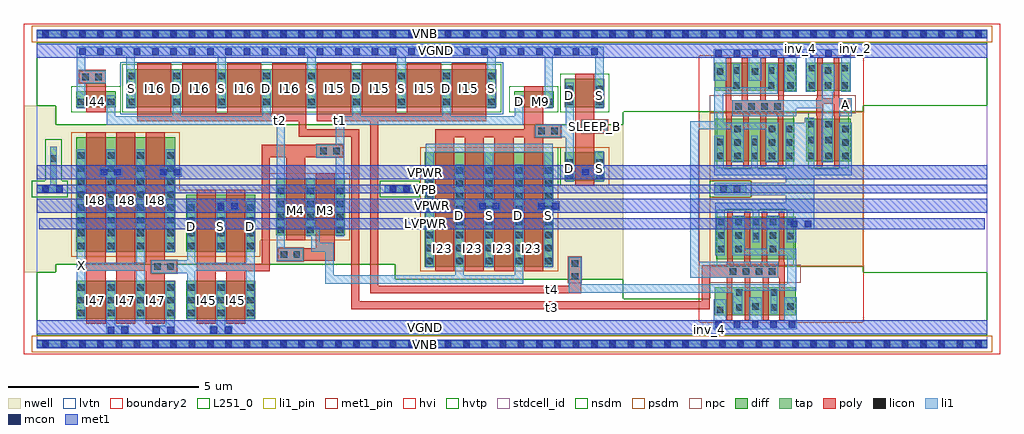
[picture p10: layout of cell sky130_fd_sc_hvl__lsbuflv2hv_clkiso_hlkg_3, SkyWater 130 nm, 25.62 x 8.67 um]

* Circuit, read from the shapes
.subckt sky130_fd_sc_hvl__lsbuflv2hv_clkiso_hlkg_3 A LVPWR SLEEP_B VGND VNB VPB VPWR X
XM1 VGND n1 X VNB sky130_fd_pr__nfet_05v0_nvt w=1 l=0.5 m=3
XM2 n2 VGND VGND VNB sky130_fd_pr__nfet_05v0_nvt w=0.42 l=0.5
XM3 n2 n3 VGND VNB sky130_fd_pr__nfet_05v0_nvt w=1 l=0.9 m=4
XM4 VGND n4 n1 VNB sky130_fd_pr__nfet_05v0_nvt w=1 l=0.5 m=2
XM5 n4 n5 VGND VNB sky130_fd_pr__nfet_05v0_nvt w=1 l=0.9 m=4
XM6 VGND n6 n4 VNB sky130_fd_pr__nfet_05v0_nvt w=0.42 l=0.5
XM7 VGND SLEEP_B n6 VNB sky130_fd_pr__nfet_05v0_nvt w=0.75 l=0.5
XM8 n3 n7 VGND VNB sky130_fd_pr__nfet_01v8 w=0.74 l=0.15 m=4
XM9 n5 n3 VGND VNB sky130_fd_pr__nfet_01v8 w=0.74 l=0.15 m=4
XM10 n7 A VGND VNB sky130_fd_pr__nfet_01v8 w=0.74 l=0.15 m=2
XM11 VPWR n1 X VPB sky130_fd_pr__pfet_g5v0d10v5 w=3 l=0.5 m=3
XM12 VPWR n4 n1 VPB sky130_fd_pr__pfet_g5v0d10v5 w=1.5 l=0.5 m=2
XM13 n8 n4 n2 VPB sky130_fd_pr__pfet_g5v0d10v5 w=1.5 l=0.5
XM14 n4 n2 n8 VPB sky130_fd_pr__pfet_g5v0d10v5 w=1.5 l=0.5
XM15 n8 n6 VPWR VPB sky130_fd_pr__pfet_g5v0d10v5 w=3 l=0.5 m=4
XM16 VPWR SLEEP_B n6 VPB sky130_fd_pr__pfet_g5v0d10v5 w=0.75 l=0.5
XM17 n3 n7 LVPWR LVPWR sky130_fd_pr__pfet_01v8_hvt w=1.12 l=0.15 m=4
XM18 n5 n3 LVPWR LVPWR sky130_fd_pr__pfet_01v8_hvt w=1.12 l=0.15 m=4
XM19 n7 A LVPWR LVPWR sky130_fd_pr__pfet_01v8_hvt w=1.12 l=0.15 m=2
.ends

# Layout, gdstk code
import gdstk
lib = gdstk.Library(unit=1e-6, precision=1e-09)
def R(c, l, rs):  # rectangles x0, y0, x1, y1
    for r in rs: c.add(gdstk.rectangle(r[:2], r[2:], *l))
def A(c, l, x, y, w, h, nx, ny, dx, dy):  # array of equal rectangles
    R(c, l, [(x+i*dx, y+j*dy, x+i*dx+w, y+j*dy+h) for i in range(nx) for j in range(ny)])
def P(c, l, *ps):  # polygons
    for p in ps: c.add(gdstk.Polygon(p, *l))
nwell = (64, 20)
diff = (65, 20)
tap = (65, 44)
poly = (66, 20)
licon = (66, 44)
li1_pin = (67, 16)
li1 = (67, 20)
mcon = (67, 44)
met1_pin = (68, 16)
met1 = (68, 20)
hvi = (75, 20)
hvtp = (78, 44)
stdcell_id = (81, 4)
nsdm = (93, 44)
psdm = (94, 20)
npc = (95, 20)
lvtn = (125, 44)
boundary2 = (236, 0)
L251_0 = (251, 0)

sky130_fd_sc_hvl__lsbufl = lib.new_cell('sky130_fd_sc_hvl__lsbuflv2hv_clkiso_hlkg_3')
R(sky130_fd_sc_hvl__lsbufl, nwell, [(17.395,2.045,21.695,6.095), (19.875,4.235,21.695,6.095)])
P(sky130_fd_sc_hvl__lsbufl, nwell, [(15.395,5.755),(0.51,5.755),(0.51,6.255),(-0.33,6.255),(-0.33,1.885),(0.51,1.885),(0.51,2.095),(9.415,2.095),(9.415,1.705),(15.395,1.705)])
R(sky130_fd_sc_hvl__lsbufl, diff, [(1.045,0.665,3.635,1.665), (3.935,0.665,5.745,1.665), (17.8,0.755,19.93,1.495), (10.195,2.035,13.565,5.035), (17.835,2.225,19.925,3.345), (1.045,2.425,3.635,5.425), (3.935,2.425,5.745,3.925), (6.285,2.855,8.095,4.355), (13.87,4.285,14.9,5.035), (17.805,4.795,19.895,5.915), (20.2,4.795,21.37,5.915), (1.045,6.215,2.075,6.635), (2.375,6.215,12.065,7.215), (12.54,6.215,13.57,6.635), (13.87,6.215,14.9,6.965), (17.8,6.645,19.93,7.385), (20.205,6.645,21.355,7.385)])
R(sky130_fd_sc_hvl__lsbufl, tap, [(0,-0.085,24.96,0.085), (0,3.985,0.685,4.155), (0.36,3.985,0.53,5.18), (9.135,3.985,9.925,4.155), (17.795,3.985,18.63,4.155), (0,8.055,24.96,8.225)])
R(sky130_fd_sc_hvl__lsbufl, poly, [(6.55,2.725,7.05,4.485), (7.33,2.725,7.83,4.485)])
P(sky130_fd_sc_hvl__lsbufl, poly, [(19.645,2.15),(19.63,2.15),(19.63,3.475),(19.48,3.475),(19.48,2.15),(19.465,2.15),(19.465,2.065),(19.195,2.065),(19.195,2.15),(19.18,2.15),(19.18,3.475),(19.03,3.475),(19.03,2.15),(19.015,2.15),(19.015,2.065),(18.745,2.065),(18.745,2.15),(18.73,2.15),(18.73,3.475),(18.58,3.475),(18.58,2.15),(18.565,2.15),(18.565,2.065),(18.295,2.065),(18.295,2.15),(18.28,2.15),(18.28,3.475),(18.13,3.475),(18.13,2.15),(18.115,2.15),(18.115,2.065),(17.465,2.065),(17.465,1.125),(8.465,1.125),(8.465,5.645),(7.08,5.645),(7.08,7.375),(6.18,7.375),(6.18,6.055),(5.9,6.055),(5.9,7.375),(5,7.375),(5,6.055),(4.72,6.055),(4.72,7.375),(3.82,7.375),(3.82,6.055),(3.54,6.055),(3.54,7.375),(2.64,7.375),(2.64,5.855),(6.88,5.855),(6.88,5.445),(8.265,5.445),(8.265,0.92),(17.665,0.92),(17.665,1.735),(18.115,1.735),(18.115,0.625),(18.265,0.625),(18.265,1.735),(18.585,1.735),(18.585,0.625),(18.735,0.625),(18.735,1.735),(19.065,1.735),(19.065,0.625),(19.215,0.625),(19.215,1.735),(19.495,1.735),(19.495,0.625),(19.645,0.625)],
  [(20.47,5.99),(20.485,5.99),(20.485,4.665),(20.635,4.665),(20.635,5.99),(20.65,5.99),(20.65,6.305),(20.92,6.305),(20.92,5.99),(20.935,5.99),(20.935,4.665),(21.085,4.665),(21.085,5.99),(21.1,5.99),(21.1,6.125),(21.4,6.125),(21.4,6.455),(21.07,6.455),(21.07,7.515),(20.92,7.515),(20.92,6.455),(20.64,6.455),(20.64,7.515),(20.49,7.515),(20.49,6.455),(20.47,6.455)],
  [(18.085,5.99),(18.1,5.99),(18.1,4.665),(18.25,4.665),(18.25,5.99),(18.265,5.99),(18.265,6.075),(18.535,6.075),(18.535,5.99),(18.55,5.99),(18.55,4.665),(18.7,4.665),(18.7,5.99),(18.715,5.99),(18.715,6.075),(18.985,6.075),(18.985,5.99),(19,5.99),(19,4.665),(19.15,4.665),(19.15,5.99),(19.165,5.99),(19.165,6.075),(19.435,6.075),(19.435,5.99),(19.45,5.99),(19.45,4.665),(19.6,4.665),(19.6,5.99),(19.615,5.99),(19.615,7.515),(19.465,7.515),(19.465,6.405),(19.145,6.405),(19.145,7.515),(18.995,7.515),(18.995,6.405),(18.665,6.405),(18.665,7.515),(18.515,7.515),(18.515,6.405),(18.235,6.405),(18.235,7.515),(18.085,7.515)],
  [(1.81,7.18),(1.12,7.18),(1.12,6.85),(1.31,6.85),(1.31,6.085),(1.81,6.085)],
  [(3.68,2.195),(3.37,2.195),(3.37,5.555),(2.87,5.555),(2.87,2.13),(2.59,2.13),(2.59,5.555),(2.09,5.555),(2.09,2.13),(1.81,2.13),(1.81,5.555),(1.31,5.555),(1.31,0.535),(1.81,0.535),(1.81,1.93),(2.09,1.93),(2.09,0.535),(2.59,0.535),(2.59,1.93),(2.87,1.93),(2.87,0.535),(3.37,0.535),(3.37,1.865),(3.68,1.865)],
  [(6.55,5.235),(8.055,5.235),(8.055,4.905),(7.05,4.905),(7.05,2.725),(6.55,2.725)],
  [(6.325,2.515),(7.33,2.515),(7.33,2.725),(7.83,2.725),(7.83,2.185),(6.325,2.185)],
  [(14.985,5.875),(14.635,5.875),(14.635,7.095),(14.135,7.095),(14.135,4.155),(14.635,4.155),(14.635,5.545),(14.985,5.545)],
  [(13.76,5.755),(13.305,5.755),(13.305,6.765),(12.805,6.765),(12.805,5.645),(10.46,5.645),(10.46,1.905),(10.96,1.905),(10.96,5.425),(11.24,5.425),(11.24,1.905),(11.74,1.905),(11.74,5.425),(12.02,5.425),(12.02,1.905),(12.52,1.905),(12.52,5.425),(12.8,5.425),(12.8,1.905),(13.3,1.905),(13.3,5.425),(13.76,5.425)],
  [(14.295,2.285),(13.965,2.285),(13.965,1.535),(8.965,1.535),(8.965,5.855),(11.8,5.855),(11.8,7.375),(10.9,7.375),(10.9,6.055),(10.62,6.055),(10.62,7.375),(9.72,7.375),(9.72,6.055),(9.44,6.055),(9.44,7.375),(8.54,7.375),(8.54,6.055),(8.26,6.055),(8.26,7.375),(7.36,7.375),(7.36,5.855),(8.765,5.855),(8.765,1.335),(14.295,1.335)],
  [(6.55,5.235),(5.915,5.235),(5.915,2.11),(5.48,2.11),(5.48,4.055),(4.98,4.055),(4.98,2.11),(4.7,2.11),(4.7,4.055),(4.2,4.055),(4.2,0.535),(4.7,0.535),(4.7,1.91),(4.98,1.91),(4.98,0.535),(5.48,0.535),(5.48,1.91),(6.115,1.91),(6.115,4.905),(6.55,4.905)])
A(sky130_fd_sc_hvl__lsbufl, licon, 0.155, -0.085, 0.17, 0.17, 3, 2, 0.48, 8.14)
A(sky130_fd_sc_hvl__lsbufl, licon, 1.115, -0.085, 0.17, 0.17, 10, 2, 0.48, 8.14)
A(sky130_fd_sc_hvl__lsbufl, licon, 5.435, -0.085, 0.17, 0.17, 41, 2, 0.48, 8.14)
A(sky130_fd_sc_hvl__lsbufl, licon, 1.085, 0.725, 0.17, 0.17, 4, 3, 0.78, 0.34)
A(sky130_fd_sc_hvl__lsbufl, licon, 3.975, 0.725, 0.17, 0.17, 3, 3, 0.78, 0.34)
A(sky130_fd_sc_hvl__lsbufl, licon, 18.195, 1.815, 0.17, 0.17, 4, 1, 0.34, 0)
A(sky130_fd_sc_hvl__lsbufl, licon, 10.235, 2.095, 0.17, 0.17, 5, 8, 0.78, 0.34)
A(sky130_fd_sc_hvl__lsbufl, licon, 1.085, 2.485, 0.17, 0.17, 4, 8, 0.78, 0.34)
A(sky130_fd_sc_hvl__lsbufl, licon, 3.975, 2.485, 0.17, 0.17, 3, 4, 0.78, 0.34)
A(sky130_fd_sc_hvl__lsbufl, licon, 6.325, 2.915, 0.17, 0.17, 3, 4, 0.78, 0.34)
A(sky130_fd_sc_hvl__lsbufl, licon, 17.895, 3.115, 0.17, 0.17, 5, 1, 0.45, 0)
A(sky130_fd_sc_hvl__lsbufl, licon, 17.865, 4.855, 0.17, 0.17, 5, 1, 0.45, 0)
A(sky130_fd_sc_hvl__lsbufl, licon, 20.25, 4.855, 0.17, 0.17, 3, 1, 0.45, 0)
A(sky130_fd_sc_hvl__lsbufl, licon, 18.345, 6.155, 0.17, 0.17, 4, 1, 0.34, 0)
A(sky130_fd_sc_hvl__lsbufl, licon, 2.415, 6.275, 0.17, 0.17, 9, 3, 1.18, 0.34)
A(sky130_fd_sc_hvl__lsbufl, licon, 20.265, 6.705, 0.17, 0.17, 3, 1, 0.43, 0)
R(sky130_fd_sc_hvl__lsbufl, licon, [(24.635,-0.085,24.805,0.085), (17.86,0.815,18.03,0.985), (18.36,0.875,18.53,1.045), (19.27,0.875,19.44,1.045), (18.79,0.895,18.96,1.065), (19.7,0.895,19.87,1.065), (18.36,1.265,18.53,1.435), (19.27,1.265,19.44,1.435), (14.045,1.695,14.215,1.865), (3.09,1.945,3.26,2.115), (3.43,1.945,3.6,2.115), (14.045,2.035,14.215,2.205), (6.405,2.265,6.575,2.435), (6.745,2.265,6.915,2.435), (17.895,2.415,18.065,2.585), (18.345,2.415,18.515,2.585), (19.245,2.415,19.415,2.585), (18.795,2.755,18.965,2.925), (19.695,2.755,19.865,2.925), (17.895,2.765,18.065,2.935), (18.345,2.765,18.515,2.935), (19.245,2.765,19.415,2.935), (0.155,3.985,0.325,4.155), (9.265,3.985,9.435,4.155), (9.625,3.985,9.795,4.155), (17.945,3.985,18.115,4.155), (18.305,3.985,18.475,4.155), (13.91,4.345,14.08,4.515), (14.69,4.345,14.86,4.515), (13.91,4.685,14.08,4.855), (14.69,4.685,14.86,4.855), (0.36,4.79,0.53,4.96), (7.445,4.985,7.615,5.155), (7.785,4.985,7.955,5.155), (18.315,5.205,18.485,5.375), (19.215,5.205,19.385,5.375), (19.665,5.205,19.835,5.375), (21.15,5.205,21.32,5.375), (17.865,5.215,18.035,5.385), (18.765,5.215,18.935,5.385), (20.25,5.27,20.42,5.44), (20.7,5.27,20.87,5.44), (13.17,5.505,13.34,5.675), (13.51,5.505,13.68,5.675), (18.315,5.555,18.485,5.725), (19.215,5.555,19.385,5.725), (19.665,5.555,19.835,5.725), (21.15,5.555,21.32,5.725), (14.395,5.625,14.565,5.795), (14.735,5.625,14.905,5.795), (20.25,5.685,20.42,5.855), (20.7,5.685,20.87,5.855), (21.15,6.205,21.32,6.375), (1.085,6.275,1.255,6.445), (1.865,6.275,2.035,6.445), (12.58,6.275,12.75,6.445), (13.36,6.275,13.53,6.445), (13.91,6.275,14.08,6.445), (14.69,6.275,14.86,6.445), (13.91,6.615,14.08,6.785), (14.69,6.615,14.86,6.785), (18.29,6.705,18.46,6.875), (19.2,6.705,19.37,6.875), (19.7,6.705,19.87,6.875), (1.2,6.93,1.37,7.1), (1.54,6.93,1.71,7.1), (17.86,7.075,18.03,7.245), (18.77,7.075,18.94,7.245), (18.29,7.095,18.46,7.265), (19.2,7.095,19.37,7.265), (20.695,7.095,20.865,7.265), (19.7,7.155,19.87,7.325), (20.265,7.155,20.435,7.325), (21.125,7.155,21.295,7.325), (24.635,8.055,24.805,8.225)])
R(sky130_fd_sc_hvl__lsbufl, li1_pin, [(1.085,1.98,1.255,2.15), (14.565,5.625,14.735,5.795), (21.15,6.205,21.32,6.375)])
A(sky130_fd_sc_hvl__lsbufl, li1, 3.595, 6.195, 0.17, 1.01, 4, 1, 2.36, 0)
R(sky130_fd_sc_hvl__lsbufl, li1, [(0,-0.085,24.96,0.085), (1.085,0.645,1.255,1.655), (2.645,0.645,2.815,1.655), (4.755,0.645,4.925,1.655), (11.015,2.015,11.185,4.725), (12.575,2.015,12.745,4.725), (7.075,2.835,7.305,4.185), (17.795,3.905,20.42,4.235), (9.135,3.985,9.925,4.155), (17.795,3.985,18.63,4.155), (13.91,4.265,14.08,4.935), (7.345,4.905,8.055,5.235), (14.315,5.545,14.985,5.875), (18.265,5.975,19.94,6.405), (21.07,5.975,21.4,6.455), (19.94,6.185,20.615,6.405), (1.865,6.195,2.035,6.525), (12.58,6.195,12.75,6.525), (0,8.055,24.96,8.225)])
P(sky130_fd_sc_hvl__lsbufl, li1, [(19.465,4.775),(19.135,4.775),(19.135,5.635),(18.565,5.635),(18.565,4.775),(18.235,4.775),(18.235,5.635),(17.38,5.635),(17.38,2.165),(19.465,2.165),(19.465,1.735),(17.16,1.735),(17.16,5.855),(17.79,5.855),(17.79,6.745),(18.29,6.745),(18.29,7.345),(18.46,7.345),(18.46,6.745),(19.2,6.745),(19.2,7.345),(19.45,7.345),(19.45,6.575),(18.02,6.575),(18.02,5.805),(19.465,5.805)],
  [(14.885,7.8),(1.06,7.8),(1.06,6.195),(1.28,6.195),(1.28,6.85),(1.81,6.85),(1.81,7.18),(1.28,7.18),(1.28,7.57),(2.36,7.57),(2.36,6.195),(2.585,6.195),(2.585,7.205),(2.58,7.205),(2.58,7.57),(4.75,7.57),(4.75,6.195),(4.97,6.195),(4.97,7.57),(7.11,7.57),(7.11,6.195),(7.33,6.195),(7.33,7.57),(9.47,7.57),(9.47,6.195),(9.69,6.195),(9.69,7.57),(11.83,7.57),(11.83,6.195),(12.05,6.195),(12.05,7.57),(13.335,7.57),(13.335,6.195),(13.555,6.195),(13.555,7.57),(14.665,7.57),(14.665,6.195),(14.885,6.195)],
  [(0.685,4.155),(0.53,4.155),(0.53,5.18),(0.36,5.18),(0.36,4.155),(0,4.155),(0,3.985),(0.685,3.985)],
  [(21.375,7.745),(21.375,6.625),(21.125,6.625),(21.125,7.515),(20.435,7.515),(20.435,6.625),(20.185,6.625),(20.185,7.515),(20.065,7.515),(20.065,7.745)],
  [(21.4,4.435),(20.065,4.435),(20.065,4.605),(20.17,4.605),(20.17,5.935),(20.42,5.935),(20.42,4.605),(21.07,4.605),(21.07,5.805),(21.4,5.805)],
  [(20.9,6.625),(20.9,4.775),(20.615,4.775),(20.615,7.345),(20.945,7.345),(20.945,6.625)],
  [(20.065,7.745),(20.065,7.515),(19.95,7.515),(19.95,6.625),(19.62,6.625),(19.62,7.515),(19.02,7.515),(19.02,6.915),(18.69,6.915),(18.69,7.515),(18.11,7.515),(18.11,6.915),(17.78,6.915),(17.78,7.745)],
  [(20.065,4.605),(20.065,4.435),(17.785,4.435),(17.785,5.465),(18.035,5.465),(18.035,4.605),(18.765,4.605),(18.765,5.465),(18.935,5.465),(18.935,4.605),(19.665,4.605),(19.665,5.805),(19.915,5.805),(19.915,4.605)],
  [(17.78,0.395),(17.78,1.175),(18.11,1.175),(18.11,0.625),(18.71,0.625),(18.71,1.225),(19.04,1.225),(19.04,0.625),(19.62,0.625),(19.62,1.225),(19.95,1.225),(19.95,0.395)],
  [(20.42,3.02),(19.945,3.02),(19.945,2.675),(19.695,2.675),(19.695,3.535),(18.965,3.535),(18.965,2.675),(18.795,2.675),(18.795,3.535),(18.065,3.535),(18.065,2.335),(17.815,2.335),(17.815,3.705),(19.665,3.705),(19.665,5.805),(20.42,5.805)],
  [(19.495,2.505),(19.94,2.505),(19.94,1.395),(19.44,1.395),(19.44,0.795),(19.27,0.795),(19.27,1.395),(18.53,1.395),(18.53,0.795),(18.28,0.795),(18.28,1.565),(19.71,1.565),(19.71,2.335),(18.265,2.335),(18.265,3.365),(18.595,3.365),(18.595,2.505),(19.165,2.505),(19.165,3.365),(19.495,3.365)],
  [(5.31,3.755),(4.725,3.755),(4.725,2.405),(4.955,2.405),(4.955,3.515),(5.31,3.515)],
  [(2.84,5.115),(2.62,5.115),(2.62,2.14),(1.28,2.14),(1.28,5.115),(1.06,5.115),(1.06,0.645),(1.28,0.645),(1.28,1.92),(2.62,1.92),(2.62,0.645),(2.84,0.645)],
  [(3.805,4.625),(3.625,4.625),(3.625,5.115),(3.395,5.115),(3.395,4.625),(3.215,4.625),(3.215,4.395),(3.395,4.395),(3.395,2.405),(3.625,2.405),(3.625,4.395),(3.805,4.395)],
  [(5.73,3.755),(5.51,3.755),(5.51,2.14),(4.17,2.14),(4.17,3.755),(3.95,3.755),(3.95,2.195),(3.01,2.195),(3.01,1.865),(3.95,1.865),(3.95,0.645),(4.17,0.645),(4.17,1.92),(5.51,1.92),(5.51,0.645),(5.73,0.645)],
  [(5.135,0.485),(4.955,0.485),(4.955,1.655),(4.725,1.655),(4.725,0.485),(4.545,0.485),(4.545,0.255),(5.135,0.255)],
  [(2.425,0.485),(2.065,0.485),(2.065,1.655),(1.835,1.655),(1.835,0.255),(2.425,0.255)],
  [(2.245,4.625),(2.065,4.625),(2.065,5.115),(1.835,5.115),(1.835,4.625),(1.655,4.625),(1.655,4.395),(1.835,4.395),(1.835,2.405),(2.065,2.405),(2.065,4.395),(2.245,4.395)],
  [(12.775,6.525),(12.555,6.525),(12.555,5.975),(10.87,5.975),(10.87,7.205),(10.65,7.205),(10.65,5.975),(8.51,5.975),(8.51,7.205),(8.29,7.205),(8.29,5.975),(7.86,5.975),(7.86,2.835),(8.08,2.835),(8.08,5.755),(12.775,5.755)],
  [(3.625,1.655),(3.395,1.655),(3.395,0.485),(3.035,0.485),(3.035,0.255),(3.625,0.255)],
  [(13.735,3.745),(13.55,3.745),(13.55,5.255),(10.21,5.255),(10.21,3.745),(10.025,3.745),(10.025,3.515),(10.21,3.515),(10.21,2.015),(10.43,2.015),(10.43,3.515),(10.615,3.515),(10.615,3.745),(10.43,3.745),(10.43,5.035),(11.77,5.035),(11.77,3.745),(11.585,3.745),(11.585,3.515),(11.77,3.515),(11.77,2.015),(11.99,2.015),(11.99,3.515),(12.175,3.515),(12.175,3.745),(11.99,3.745),(11.99,5.035),(13.33,5.035),(13.33,3.745),(13.145,3.745),(13.145,3.515),(13.33,3.515),(13.33,2.015),(13.55,2.015),(13.55,3.515),(13.735,3.515)],
  [(14.885,5.055),(14.655,5.055),(14.655,4.625),(14.295,4.625),(14.295,4.395),(14.655,4.395),(14.655,4.265),(14.885,4.265)],
  [(14.105,6.865),(13.885,6.865),(13.885,5.755),(13.09,5.755),(13.09,5.425),(13.885,5.425),(13.885,4.265),(14.105,4.265)],
  [(12.77,4.725),(12.55,4.725),(12.55,1.805),(11.21,1.805),(11.21,4.725),(10.99,4.725),(10.99,1.805),(7.805,1.805),(7.805,2.655),(7.435,2.655),(7.435,3.065),(7.305,3.065),(7.305,4.345),(7.075,4.345),(7.075,2.835),(7.205,2.835),(7.205,2.425),(7.575,2.425),(7.575,1.585),(12.77,1.585)],
  [(18.28,1.345),(13.965,1.345),(13.965,2.285),(14.295,2.285),(14.295,1.565),(18.28,1.565)],
  [(6.995,2.515),(6.52,2.515),(6.52,5.975),(6.15,5.975),(6.15,7.205),(5.93,7.205),(5.93,5.975),(3.79,5.975),(3.79,7.205),(3.57,7.205),(3.57,5.975),(2.06,5.975),(2.06,6.525),(1.84,6.525),(1.84,5.755),(6.3,5.755),(6.3,2.185),(6.995,2.185)])
A(sky130_fd_sc_hvl__lsbufl, mcon, 0.155, -0.085, 0.17, 0.17, 3, 2, 0.48, 8.14)
A(sky130_fd_sc_hvl__lsbufl, mcon, 1.115, -0.085, 0.17, 0.17, 10, 2, 0.48, 8.14)
A(sky130_fd_sc_hvl__lsbufl, mcon, 5.435, -0.085, 0.17, 0.17, 41, 2, 0.48, 8.14)
A(sky130_fd_sc_hvl__lsbufl, mcon, 17.82, 0.425, 0.17, 0.17, 5, 1, 0.48, 0)
A(sky130_fd_sc_hvl__lsbufl, mcon, 17.82, 7.545, 0.17, 0.17, 8, 1, 0.48, 0)
A(sky130_fd_sc_hvl__lsbufl, mcon, 1.115, 7.6, 0.17, 0.17, 26, 1, 0.48, 0)
R(sky130_fd_sc_hvl__lsbufl, mcon, [(24.635,-0.085,24.805,0.085), (1.865,0.285,2.035,0.455), (2.225,0.285,2.395,0.455), (3.065,0.285,3.235,0.455), (3.425,0.285,3.595,0.455), (4.575,0.285,4.745,0.455), (4.935,0.285,5.105,0.455), (19.8,3.07,19.97,3.24), (20.16,3.07,20.33,3.24), (4.75,3.545,4.92,3.715), (5.11,3.545,5.28,3.715), (10.055,3.545,10.225,3.715), (10.415,3.545,10.585,3.715), (11.615,3.545,11.785,3.715), (11.975,3.545,12.145,3.715), (13.175,3.545,13.345,3.715), (13.535,3.545,13.705,3.715), (0.155,3.985,0.325,4.155), (0.515,3.985,0.685,4.155), (9.265,3.985,9.435,4.155), (9.625,3.985,9.795,4.155), (1.685,4.425,1.855,4.595), (2.045,4.425,2.215,4.595), (3.245,4.425,3.415,4.595), (3.605,4.425,3.775,4.595), (14.325,4.425,14.495,4.595), (14.685,4.425,14.855,4.595), (13.59,7.6,13.76,7.77), (14.075,7.6,14.245,7.77), (14.555,7.6,14.725,7.77), (24.635,8.055,24.805,8.225)])
R(sky130_fd_sc_hvl__lsbufl, met1_pin, [(0,0,24.96,0.115), (0,0.255,24.96,0.625), (0.07,3.02,24.89,3.305), (0,3.445,24.96,3.815), (0,3.955,24.96,4.185), (0,4.325,24.96,4.695), (0,7.515,24.96,7.885), (0,8.025,24.96,8.14), (10.2,8.025,11.64,8.14)])
A(sky130_fd_sc_hvl__lsbufl, met1, 0, -0.115, 24.96, 0.23, 1, 3, 0, 4.07)
R(sky130_fd_sc_hvl__lsbufl, met1, [(0,0.255,24.96,0.625), (0.07,3.02,24.89,3.305), (0,3.445,24.96,3.815), (0,4.325,24.96,4.695), (0,7.515,24.96,7.885)])
P(sky130_fd_sc_hvl__lsbufl, hvi, [(25.29,8.405),(21.695,8.405),(21.695,0.575),(17.395,0.575),(17.395,7.565),(21.695,7.565),(21.695,8.405),(-0.33,8.405),(-0.33,-0.265),(25.29,-0.265)])
R(sky130_fd_sc_hvl__lsbufl, hvtp, [(17.855,2.045,19.875,3.525), (17.855,4.615,19.875,6.095), (20.255,4.615,21.315,6.095)])
R(sky130_fd_sc_hvl__lsbufl, stdcell_id, [(0,0,24.96,8.14)])
R(sky130_fd_sc_hvl__lsbufl, nsdm, [(9.005,3.855,10.055,4.285), (17.665,3.855,18.76,4.285), (2.245,6.085,12.195,7.345)])
P(sky130_fd_sc_hvl__lsbufl, nsdm, [(24.96,1.885),(21.695,1.885),(21.695,2.045),(17.665,2.045),(17.665,1.195),(15.405,1.195),(15.405,1.705),(9.415,1.705),(9.415,2.095),(0.51,2.095),(0.51,1.885),(0,1.885),(0,0.215),(24.96,0.215)],
  [(0.66,5.375),(0.23,5.375),(0.23,4.285),(-0.13,4.285),(-0.13,3.855),(0.815,3.855),(0.815,4.285),(0.66,4.285)],
  [(24.96,7.925),(0,7.925),(0,6.255),(0.51,6.255),(0.51,5.755),(15.395,5.755),(15.395,6.095),(21.695,6.095),(21.695,6.255),(24.96,6.255)])
R(sky130_fd_sc_hvl__lsbufl, psdm, [(-0.13,-0.215,25.09,0.215), (-0.13,7.925,25.09,8.355)])
P(sky130_fd_sc_hvl__lsbufl, psdm, [(15.03,5.165),(10.065,5.165),(10.065,1.905),(13.695,1.905),(13.695,4.155),(15.03,4.155)],
  [(21.695,6.095),(19.645,6.095),(19.645,6.045),(18.235,6.045),(18.235,6.095),(17.665,6.095),(17.665,4.285),(18.76,4.285),(18.76,3.855),(17.665,3.855),(17.665,2.045),(18.085,2.045),(18.085,2.095),(19.495,2.095),(19.495,2.045),(21.695,2.045)],
  [(8.225,4.485),(5.915,4.485),(5.915,4.055),(3.765,4.055),(3.765,5.555),(0.915,5.555),(0.915,2.295),(5.875,2.295),(5.875,2.725),(8.225,2.725)])
R(sky130_fd_sc_hvl__lsbufl, npc, [(13.945,1.595,14.315,2.305), (17.665,1.615,20.065,2.085), (2.99,1.845,3.7,2.215), (6.305,2.165,7.015,2.535), (7.345,4.885,8.055,5.255), (13.07,5.405,13.78,5.775), (14.295,5.525,15.005,5.895), (17.665,6.055,20.065,6.525), (20.065,6.055,21.505,6.525), (1.1,6.83,1.81,7.2)])
R(sky130_fd_sc_hvl__lsbufl, lvtn, [(2.195,6.035,12.245,7.395)])
R(sky130_fd_sc_hvl__lsbufl, boundary2, [(0,0,24.96,8.14)])
R(sky130_fd_sc_hvl__lsbufl, L251_0, [(10.065,1.905,13.695,5.165), (13.74,4.155,15.03,5.165), (0.915,6.085,2.205,6.765), (2.245,6.085,12.195,7.345), (12.41,6.085,13.7,6.765), (13.74,6.085,15.03,7.095)])
sky130_fd_sc_hvl__lsbufl.add(gdstk.Label('SLEEP_B', (14.65,5.71), layer=67, texttype=5))
sky130_fd_sc_hvl__lsbufl.add(gdstk.Label('A', (21.235,6.29), layer=67, texttype=5))
sky130_fd_sc_hvl__lsbufl.add(gdstk.Label('X', (1.17,2.065), layer=67, texttype=5))
sky130_fd_sc_hvl__lsbufl.add(gdstk.Label('VNB', (10.215,8.14), layer=68, texttype=5))
sky130_fd_sc_hvl__lsbufl.add(gdstk.Label('VNB', (10.215,0), layer=68, texttype=5))
sky130_fd_sc_hvl__lsbufl.add(gdstk.Label('VGND', (10.215,0.44), layer=68, texttype=5))
sky130_fd_sc_hvl__lsbufl.add(gdstk.Label('VGND', (10.485,7.7), layer=68, texttype=5))
sky130_fd_sc_hvl__lsbufl.add(gdstk.Label('VPB', (10.215,4.07), layer=68, texttype=5))
sky130_fd_sc_hvl__lsbufl.add(gdstk.Label('VPWR', (10.215,4.51), layer=68, texttype=5))
sky130_fd_sc_hvl__lsbufl.add(gdstk.Label('VPWR', (10.39,3.63), layer=68, texttype=5))
sky130_fd_sc_hvl__lsbufl.add(gdstk.Label('LVPWR', (10.215,3.165), layer=68, texttype=5))
sky130_fd_sc_hvl__lsbufl.add(gdstk.Label('D', (4.06,3.08), layer=83, texttype=44))
sky130_fd_sc_hvl__lsbufl.add(gdstk.Label('S', (4.84,3.08), layer=83, texttype=44))
sky130_fd_sc_hvl__lsbufl.add(gdstk.Label('D', (5.62,3.08), layer=83, texttype=44))
sky130_fd_sc_hvl__lsbufl.add(gdstk.Label('S', (2.5,6.7), layer=83, texttype=44))
sky130_fd_sc_hvl__lsbufl.add(gdstk.Label('I16', (4.27,6.7), layer=83, texttype=44))
sky130_fd_sc_hvl__lsbufl.add(gdstk.Label('D', (3.68,6.7), layer=83, texttype=44))
sky130_fd_sc_hvl__lsbufl.add(gdstk.Label('I46', (4.45,3.08), layer=83, texttype=44))
sky130_fd_sc_hvl__lsbufl.add(gdstk.Label('I23', (10.66,2.52), layer=83, texttype=44))
sky130_fd_sc_hvl__lsbufl.add(gdstk.Label('I46', (5.23,3.08), layer=83, texttype=44))
sky130_fd_sc_hvl__lsbufl.add(gdstk.Label('I45', (4.45,1.15), layer=83, texttype=44))
sky130_fd_sc_hvl__lsbufl.add(gdstk.Label('I23', (12.22,2.52), layer=83, texttype=44))
sky130_fd_sc_hvl__lsbufl.add(gdstk.Label('inv_2', (21.505,7.755), layer=83, texttype=44))
sky130_fd_sc_hvl__lsbufl.add(gdstk.Label('inv_4', (20.065,7.755), layer=83, texttype=44))
sky130_fd_sc_hvl__lsbufl.add(gdstk.Label('I16', (6.63,6.7), layer=83, texttype=44))
sky130_fd_sc_hvl__lsbufl.add(gdstk.Label('inv_4', (17.665,0.385), layer=83, texttype=44))
sky130_fd_sc_hvl__lsbufl.add(gdstk.Label('t4', (13.55,1.44), layer=83, texttype=44))
sky130_fd_sc_hvl__lsbufl.add(gdstk.Label('I16', (5.45,6.7), layer=83, texttype=44))
sky130_fd_sc_hvl__lsbufl.add(gdstk.Label('I48', (1.56,3.76), layer=83, texttype=44))
sky130_fd_sc_hvl__lsbufl.add(gdstk.Label('I15', (11.35,6.7), layer=83, texttype=44))
sky130_fd_sc_hvl__lsbufl.add(gdstk.Label('I15', (10.17,6.7), layer=83, texttype=44))
sky130_fd_sc_hvl__lsbufl.add(gdstk.Label('I23', (11.44,2.52), layer=83, texttype=44))
sky130_fd_sc_hvl__lsbufl.add(gdstk.Label('I15', (8.99,6.7), layer=83, texttype=44))
sky130_fd_sc_hvl__lsbufl.add(gdstk.Label('I48', (2.34,3.76), layer=83, texttype=44))
sky130_fd_sc_hvl__lsbufl.add(gdstk.Label('I47', (3.12,1.15), layer=83, texttype=44))
sky130_fd_sc_hvl__lsbufl.add(gdstk.Label('I47', (2.34,1.15), layer=83, texttype=44))
sky130_fd_sc_hvl__lsbufl.add(gdstk.Label('I15', (7.81,6.7), layer=83, texttype=44))
sky130_fd_sc_hvl__lsbufl.add(gdstk.Label('M3', (7.58,3.51), layer=83, texttype=44))
sky130_fd_sc_hvl__lsbufl.add(gdstk.Label('M9', (13.235,6.36), layer=83, texttype=44))
sky130_fd_sc_hvl__lsbufl.add(gdstk.Label('S', (7.22,6.7), layer=83, texttype=44))
sky130_fd_sc_hvl__lsbufl.add(gdstk.Label('M4', (6.8,3.51), layer=83, texttype=44))
sky130_fd_sc_hvl__lsbufl.add(gdstk.Label('I23', (13,2.52), layer=83, texttype=44))
sky130_fd_sc_hvl__lsbufl.add(gdstk.Label('I45', (5.23,1.15), layer=83, texttype=44))
sky130_fd_sc_hvl__lsbufl.add(gdstk.Label('I47', (1.56,1.15), layer=83, texttype=44))
sky130_fd_sc_hvl__lsbufl.add(gdstk.Label('I48', (3.12,3.76), layer=83, texttype=44))
sky130_fd_sc_hvl__lsbufl.add(gdstk.Label('I16', (3.09,6.7), layer=83, texttype=44))
sky130_fd_sc_hvl__lsbufl.add(gdstk.Label('D', (5.62,1.15), layer=83, texttype=44))
sky130_fd_sc_hvl__lsbufl.add(gdstk.Label('S', (4.84,1.15), layer=83, texttype=44))
sky130_fd_sc_hvl__lsbufl.add(gdstk.Label('D', (4.06,1.15), layer=83, texttype=44))
sky130_fd_sc_hvl__lsbufl.add(gdstk.Label('S', (3.51,1.15), layer=83, texttype=44))
sky130_fd_sc_hvl__lsbufl.add(gdstk.Label('D', (2.73,1.15), layer=83, texttype=44))
sky130_fd_sc_hvl__lsbufl.add(gdstk.Label('S', (1.95,1.15), layer=83, texttype=44))
sky130_fd_sc_hvl__lsbufl.add(gdstk.Label('D', (1.17,1.15), layer=83, texttype=44))
sky130_fd_sc_hvl__lsbufl.add(gdstk.Label('I44', (1.56,6.36), layer=83, texttype=44))
sky130_fd_sc_hvl__lsbufl.add(gdstk.Label('S', (7.19,3.51), layer=83, texttype=44))
sky130_fd_sc_hvl__lsbufl.add(gdstk.Label('D', (6.41,3.51), layer=83, texttype=44))
sky130_fd_sc_hvl__lsbufl.add(gdstk.Label('S', (10.32,3.37), layer=83, texttype=44))
sky130_fd_sc_hvl__lsbufl.add(gdstk.Label('D', (11.1,3.37), layer=83, texttype=44))
sky130_fd_sc_hvl__lsbufl.add(gdstk.Label('S', (11.88,3.37), layer=83, texttype=44))
sky130_fd_sc_hvl__lsbufl.add(gdstk.Label('D', (12.66,3.37), layer=83, texttype=44))
sky130_fd_sc_hvl__lsbufl.add(gdstk.Label('S', (13.44,3.37), layer=83, texttype=44))
sky130_fd_sc_hvl__lsbufl.add(gdstk.Label('S', (7.19,3.51), layer=83, texttype=44))
sky130_fd_sc_hvl__lsbufl.add(gdstk.Label('D', (7.97,3.51), layer=83, texttype=44))
sky130_fd_sc_hvl__lsbufl.add(gdstk.Label('S', (3.51,3.76), layer=83, texttype=44))
sky130_fd_sc_hvl__lsbufl.add(gdstk.Label('D', (2.73,3.76), layer=83, texttype=44))
sky130_fd_sc_hvl__lsbufl.add(gdstk.Label('S', (1.95,3.76), layer=83, texttype=44))
sky130_fd_sc_hvl__lsbufl.add(gdstk.Label('D', (1.17,3.76), layer=83, texttype=44))
sky130_fd_sc_hvl__lsbufl.add(gdstk.Label('S', (14.775,4.6), layer=83, texttype=44))
sky130_fd_sc_hvl__lsbufl.add(gdstk.Label('D', (13.995,4.6), layer=83, texttype=44))
sky130_fd_sc_hvl__lsbufl.add(gdstk.Label('S', (1.17,6.36), layer=83, texttype=44))
sky130_fd_sc_hvl__lsbufl.add(gdstk.Label('D', (1.95,6.36), layer=83, texttype=44))
sky130_fd_sc_hvl__lsbufl.add(gdstk.Label('S', (13.445,6.36), layer=83, texttype=44))
sky130_fd_sc_hvl__lsbufl.add(gdstk.Label('D', (12.665,6.36), layer=83, texttype=44))
sky130_fd_sc_hvl__lsbufl.add(gdstk.Label('S', (14.775,6.53), layer=83, texttype=44))
sky130_fd_sc_hvl__lsbufl.add(gdstk.Label('D', (13.995,6.53), layer=83, texttype=44))
sky130_fd_sc_hvl__lsbufl.add(gdstk.Label('S', (4.86,6.7), layer=83, texttype=44))
sky130_fd_sc_hvl__lsbufl.add(gdstk.Label('D', (6.04,6.7), layer=83, texttype=44))
sky130_fd_sc_hvl__lsbufl.add(gdstk.Label('t2', (6.41,5.865), layer=83, texttype=44))
sky130_fd_sc_hvl__lsbufl.add(gdstk.Label('t1', (7.97,5.865), layer=83, texttype=44))
sky130_fd_sc_hvl__lsbufl.add(gdstk.Label('t3', (13.55,0.95), layer=83, texttype=44))
sky130_fd_sc_hvl__lsbufl.add(gdstk.Label('S', (7.22,6.7), layer=83, texttype=44))
sky130_fd_sc_hvl__lsbufl.add(gdstk.Label('D', (8.4,6.7), layer=83, texttype=44))
sky130_fd_sc_hvl__lsbufl.add(gdstk.Label('S', (9.58,6.7), layer=83, texttype=44))
sky130_fd_sc_hvl__lsbufl.add(gdstk.Label('D', (10.76,6.7), layer=83, texttype=44))
sky130_fd_sc_hvl__lsbufl.add(gdstk.Label('S', (11.94,6.7), layer=83, texttype=44))
sky130_fd_sc_hvl__lsbufl.add(gdstk.Label('I36', (14.385,4.6), layer=83, texttype=44))
sky130_fd_sc_hvl__lsbufl.add(gdstk.Label('I35', (14.385,6.53), layer=83, texttype=44))

lib.write_gds('sky130_fd_sc_hvl__lsbuflv2hv_clkiso_hlkg_3.gds')
